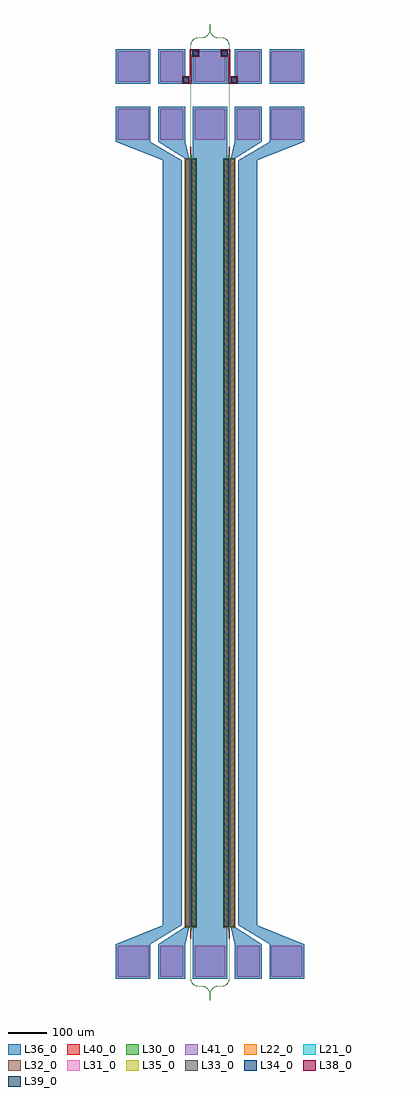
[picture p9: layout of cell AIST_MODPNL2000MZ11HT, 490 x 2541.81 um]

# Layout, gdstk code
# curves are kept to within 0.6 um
import gdstk
lib = gdstk.Library(unit=1e-6, precision=1e-09)
def R(c, l, rs):  # rectangles x0, y0, x1, y1
    for r in rs: c.add(gdstk.rectangle(r[:2], r[2:], *l))
def A(c, l, x, y, w, h, nx, ny, dx, dy):  # array of equal rectangles
    R(c, l, [(x+i*dx, y+j*dy, x+i*dx+w, y+j*dy+h) for i in range(nx) for j in range(ny)])
def P(c, l, *ps):  # polygons
    for p in ps: c.add(gdstk.Polygon(p, *l))
L21_0 = (21, 0)
L22_0 = (22, 0)
L30_0 = (30, 0)
L31_0 = (31, 0)
L32_0 = (32, 0)
L33_0 = (33, 0)
L34_0 = (34, 0)
L35_0 = (35, 0)
L36_0 = (36, 0)
L38_0 = (38, 0)
L39_0 = (39, 0)
L40_0 = (40, 0)
L41_0 = (41, 0)

aist_modpnl2000mz11ht = lib.new_cell('AIST_MODPNL2000MZ11HT')
R(aist_modpnl2000mz11ht, L21_0, [(-64.5,229.15,-49.85,2229.65), (49.85,229.15,64.5,2229.65)])
R(aist_modpnl2000mz11ht, L22_0, [(-50.15,228.9,-35.5,2229.9), (35.5,228.9,50.15,2229.9)])
P(aist_modpnl2000mz11ht, L30_0, [(-0.22,38.696),(-0.455,44.472),(-1.105,44.472),(-1.19,58.454),(-3.172,63.848),(-6.563,68.387),(-11.032,71.74),(-16.026,73.656),(-32.156,74.295),(-38.453,76.031),(-45.041,80.886),(-49.165,87.954),(-50.219,94.16),(-50.22,198.4),(-51,228.4),(-65,228.4),(-65,2230.4),(-51,2230.4),(-50.22,2260.4),(-49.871,2528.539),(-46.062,2537.083),(-39.03,2542.892),(-32.394,2544.878),(-16.182,2545.508),(-7.74,2549.728),(-4.352,2553.447),(-1.984,2557.976),(-0.828,2563.28),(-1.005,2570.576),(-0.095,2570.576),(-1.385,2558.354),(-3.567,2553.825),(-6.917,2549.867),(-11.164,2546.89),(-15.873,2545.128),(-32.635,2544.404),(-39.728,2542.023),(-43.701,2539.067),(-46.94,2535.012),(-48.991,2530.331),(-49.776,2525.2),(-49.78,2260.4),(-49,2230.4),(-35,2230.4),(-35,228.4),(-49,228.4),(-49.78,198.4),(-49.753,93.359),(-48.827,88.333),(-46.773,83.915),(-43.701,80.133),(-39.728,77.177),(-32.635,74.796),(-15.873,74.072),(-11.164,72.31),(-7.036,69.441),(-3.655,65.509),(-1.385,60.846),(-0.095,48.624),(1.516,61.224),(3.923,65.907),(7.519,69.861),(16.106,74.126),(32.158,74.738),(38.808,76.689),(45.725,82.4),(49.453,90.816),(49.78,198.4),(49,228.4),(35,228.4),(35,2230.4),(49,2230.4),(49.78,2260.4),(49.776,2525.2),(49.057,2530.1),(47.063,2534.805),(43.987,2538.787),(40.005,2541.863),(32.635,2544.404),(15.175,2545.307),(9.778,2547.688),(5.509,2551.286),(1.411,2558.278),(0.095,2570.576),(-1.105,2570.576),(0.22,2580.504),(0.455,2574.728),(1.105,2574.728),(1.174,2560.823),(3.021,2555.635),(6.283,2551.099),(10.545,2547.737),(15.715,2545.62),(32.394,2544.878),(39.315,2542.747),(46.302,2536.763),(49.886,2528.46),(50.22,2260.4),(51,2230.4),(65,2230.4),(65,228.4),(51,228.4),(50.22,198.4),(50.219,94.16),(49.139,87.878),(45.041,80.886),(38.453,76.031),(32.156,74.295),(16.026,73.656),(11.032,71.74),(6.563,68.387),(3.21,63.918),(1.258,58.768),(1.105,44.472),(0.455,44.472)])
R(aist_modpnl2000mz11ht, L31_0, [(-64.5,228.9,-50,2229.9), (50,228.9,64.5,2229.9)])
R(aist_modpnl2000mz11ht, L32_0, [(-50,228.9,-35.5,2229.9), (35.5,228.9,50,2229.9)])
R(aist_modpnl2000mz11ht, L33_0, [(-64.5,229.4,-51.15,2229.4), (51.15,229.4,64.5,2229.4)])
R(aist_modpnl2000mz11ht, L34_0, [(-48.85,229.4,-35.5,2229.4), (35.5,229.4,48.85,2229.4)])
R(aist_modpnl2000mz11ht, L35_0, [(-63,230.4,-56,2228.4), (-44,230.4,-37,2228.4), (37,230.4,44,2228.4), (56,230.4,63,2228.4)])
A(aist_modpnl2000mz11ht, L36_0, -245, 94.4, 90, 90, 3, 2, 200, 2180)
A(aist_modpnl2000mz11ht, L36_0, -245, 2424.8, 90, 90, 3, 1, 200, 0)
R(aist_modpnl2000mz11ht, L36_0, [(-245,94.4,-155,184.4), (-135,94.4,-65,184.4), (65,94.4,135,184.4), (155,94.4,245,184.4), (-64.5,229.4,-54.5,2229.4), (-45.5,229.4,45.5,2229.4), (54.5,229.4,64.5,2229.4), (-123.5,233.4,-73.5,2225.4), (73.5,233.4,123.5,2225.4), (-135,2274.4,-65,2364.4), (65,2274.4,135,2364.4), (155,2274.4,245,2364.4), (-135,2424.8,-65,2514.8), (-72.5,2424.8,-52.5,2444.8), (-72.5,2424.8,-52.5,2444.8), (52.5,2424.8,72.5,2444.8), (52.5,2424.8,72.5,2444.8), (65,2424.8,135,2514.8), (-47.5,2494.8,-27.5,2514.8), (-47.5,2494.8,-27.5,2514.8), (27.5,2494.8,47.5,2514.8), (27.5,2494.8,47.5,2514.8)])
P(aist_modpnl2000mz11ht, L36_0, [(-123.5,2225.4),(-245,2274.4),(-155,2274.4),(-73.5,2225.4)],
  [(-64.5,2229.4),(-135,2274.4),(-65,2274.4),(-54.5,2229.4)],
  [(-45.5,2229.4),(-45,2274.4),(45,2274.4),(45.5,2229.4)],
  [(54.5,2229.4),(65,2274.4),(135,2274.4),(64.5,2229.4)],
  [(73.5,2225.4),(155,2274.4),(245,2274.4),(123.5,2225.4)],
  [(-245,184.4),(-123.5,233.4),(-73.5,233.4),(-155,184.4)],
  [(-135,184.4),(-64.5,229.4),(-54.5,229.4),(-65,184.4)],
  [(-45,184.4),(-45.5,229.4),(45.5,229.4),(45,184.4)],
  [(65,184.4),(54.5,229.4),(64.5,229.4),(135,184.4)],
  [(155,184.4),(73.5,233.4),(123.5,233.4),(245,184.4)])
R(aist_modpnl2000mz11ht, L38_0, [(-72.5,2424.8,-52.5,2444.8), (-52.5,2424.8,-47.5,2514.8), (47.5,2424.8,52.5,2514.8), (52.5,2424.8,72.5,2444.8), (-47.5,2494.8,-27.5,2514.8), (27.5,2494.8,47.5,2514.8)])
R(aist_modpnl2000mz11ht, L39_0, [(-69.5,2427.8,-55.5,2441.8), (55.5,2427.8,69.5,2441.8), (-44.5,2497.8,-30.5,2511.8), (30.5,2497.8,44.5,2511.8)])
P(aist_modpnl2000mz11ht, L40_0, [(48.78,198.4),(48.695,208.4),(48,227.4),(34,227.4),(34,2231.4),(48,2231.4),(48.695,2250.4),(48.78,2260.4),(49.695,2260.4),(49.695,198.4)],
  [(50.305,198.4),(50.305,2260.4),(51.22,2260.4),(51.305,2250.4),(52,2231.4),(66,2231.4),(66,227.4),(52,227.4),(51.305,208.4),(51.22,198.4)],
  [(-51.22,198.4),(-51.305,208.4),(-52,227.4),(-66,227.4),(-66,2231.4),(-52,2231.4),(-51.305,2250.4),(-51.22,2260.4),(-50.305,2260.4),(-50.305,198.4)],
  [(-49.695,198.4),(-49.695,2260.4),(-48.78,2260.4),(-48.695,2250.4),(-48,2231.4),(-34,2231.4),(-34,227.4),(-48,227.4),(-48.695,208.4),(-48.78,198.4)])
A(aist_modpnl2000mz11ht, L41_0, -240, 99.4, 80, 80, 3, 2, 200, 2180)
A(aist_modpnl2000mz11ht, L41_0, -240, 2429.8, 80, 80, 3, 1, 200, 0)
R(aist_modpnl2000mz11ht, L41_0, [(-240,99.4,-160,179.4), (-130,99.4,-70,179.4), (70,99.4,130,179.4), (160,99.4,240,179.4), (-130,2279.4,-70,2359.4), (70,2279.4,130,2359.4), (160,2279.4,240,2359.4), (-130,2429.8,-70,2509.8), (70,2429.8,130,2509.8)])

lib.write_gds('AIST_MODPNL2000MZ11HT.gds')
